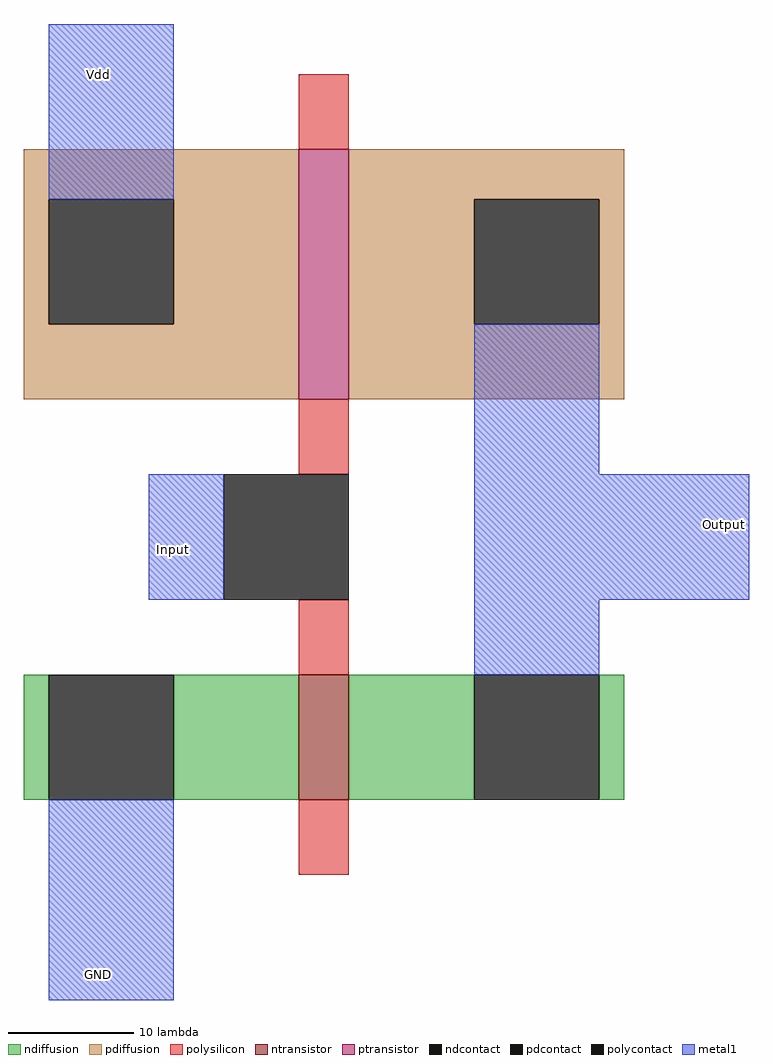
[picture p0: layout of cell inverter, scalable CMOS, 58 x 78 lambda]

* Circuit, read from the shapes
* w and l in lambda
.subckt inverter GND Input Output Vdd
M1 Output Input GND VSUBS nfet w=10 l=4
M2 Output Input Vdd NWELL pfet w=20 l=4
.ends

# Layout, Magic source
magic
tech scmos
<< polysilicon >>
rect -16 60 -12 66
rect -16 34 -12 40
rect -16 18 -12 24
rect -16 2 -12 8
<< ndiffusion >>
rect -38 8 -36 18
rect -26 8 -16 18
rect -12 8 -2 18
rect 8 8 10 18
<< pdiffusion >>
rect -38 56 -16 60
rect -38 46 -36 56
rect -26 46 -16 56
rect -38 40 -16 46
rect -12 56 10 60
rect -12 46 -2 56
rect 8 46 10 56
rect -12 40 10 46
<< metal1 >>
rect -36 56 -26 70
rect -2 34 8 46
rect -28 24 -22 34
rect -2 24 20 34
rect -2 18 8 24
rect -36 -8 -26 8
<< ntransistor >>
rect -16 8 -12 18
<< ptransistor >>
rect -16 40 -12 60
<< polycontact >>
rect -22 24 -12 34
<< ndcontact >>
rect -36 8 -26 18
rect -2 8 8 18
<< pdcontact >>
rect -36 46 -26 56
rect -2 46 8 56
<< labels >>
rlabel metal1 -26 28 -26 28 1 Input
rlabel metal1 18 30 18 30 7 Output
rlabel metal1 -32 66 -32 66 5 Vdd
rlabel metal1 -32 -6 -32 -6 1 GND
<< end >>
